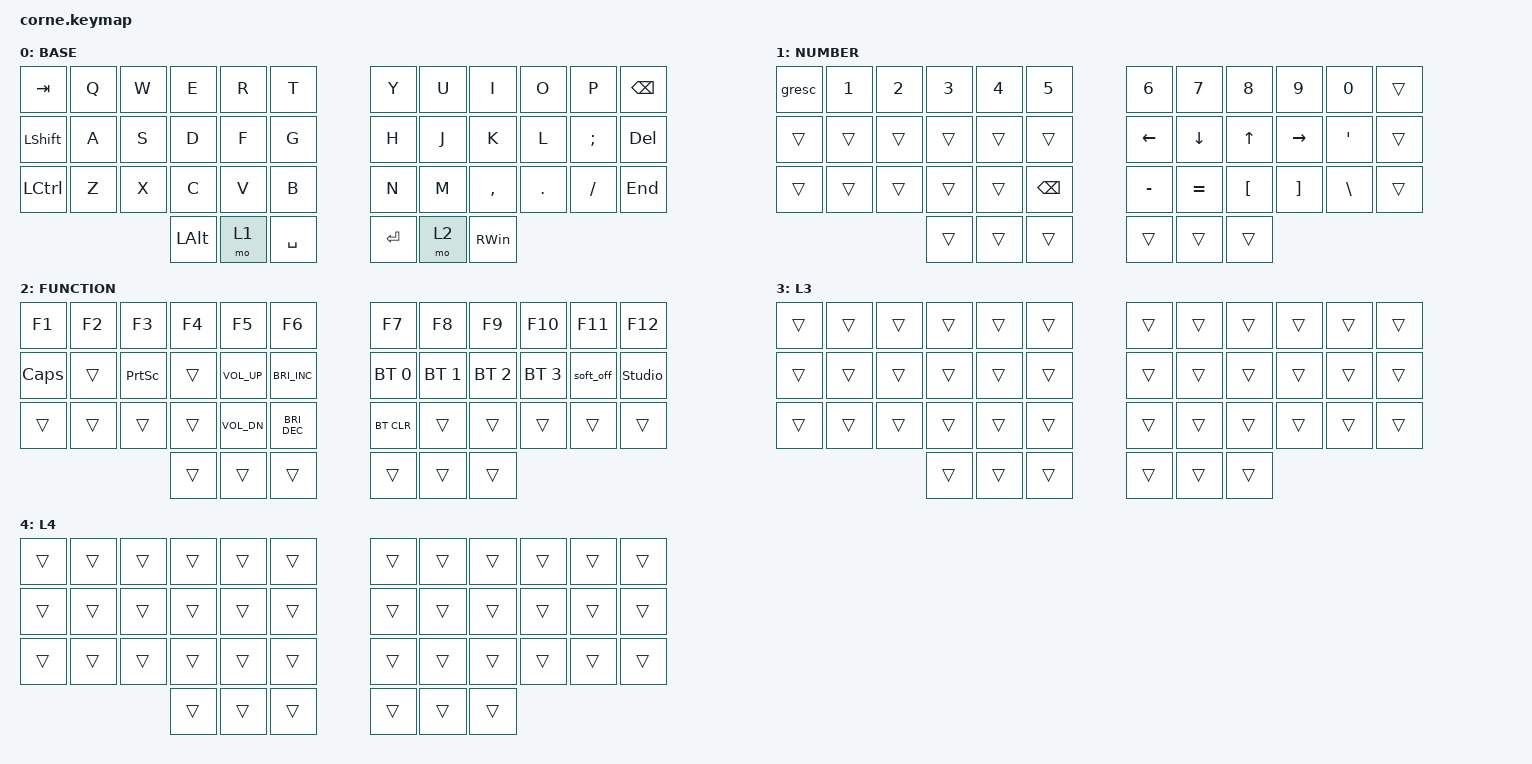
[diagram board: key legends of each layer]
/*
 * Copyright (c) 2020 The ZMK Contributors
 *
 * SPDX-License-Identifier: MIT
 */

#include <behaviors.dtsi>
#include <dt-bindings/zmk/bt.h>
#include <dt-bindings/zmk/keys.h>

/ {
    keymap {
        compatible = "zmk,keymap";

        BASE {
            bindings = <
&kp TAB    &kp Q  &kp W  &kp E         &kp R  &kp T        &kp Y    &kp U  &kp I          &kp O    &kp P     &kp BSPC
&kp LSHFT  &kp A  &kp S  &kp D         &kp F  &kp G        &kp H    &kp J  &kp K          &kp L    &kp SEMI  &kp DEL
&kp LCTRL  &kp Z  &kp X  &kp C         &kp V  &kp B        &kp N    &kp M  &kp COMMA      &kp DOT  &kp FSLH  &kp END
                         &kp LEFT_ALT  &mo 1  &kp SPACE    &kp RET  &mo 2  &kp RIGHT_WIN
            >;
        };

        NUMBER {
            bindings = <
&gresc  &kp NUMBER_1  &kp NUMBER_2  &kp NUMBER_3  &kp NUMBER_4  &kp NUMBER_5     &kp NUMBER_6  &kp NUMBER_7    &kp NUMBER_8      &kp NUMBER_9       &kp NUMBER_0   &trans
&trans  &trans        &trans        &trans        &trans        &trans           &kp LEFT      &kp DOWN_ARROW  &kp UP_ARROW      &kp RIGHT          &kp SQT        &trans
&trans  &trans        &trans        &trans        &trans        &kp BACKSPACE    &kp MINUS     &kp EQUAL       &kp LEFT_BRACKET  &kp RIGHT_BRACKET  &kp BACKSLASH  &trans
                                    &trans        &trans        &trans           &trans        &trans          &trans
            >;
        };

        FUNCTION {
            bindings = <
&kp F1        &kp F2  &kp F3           &kp F4  &kp F5           &kp F6                  &kp F7        &kp F8        &kp F9        &kp F10       &kp F11    &kp F12
&kp CAPSLOCK  &trans  &kp PRINTSCREEN  &trans  &kp C_VOLUME_UP  &kp C_BRIGHTNESS_INC    &bt BT_SEL 0  &bt BT_SEL 1  &bt BT_SEL 2  &bt BT_SEL 3  &soft_off  &studio_unlock
&trans        &trans  &trans           &trans  &kp C_VOL_DN     &kp C_BRIGHTNESS_DEC    &bt BT_CLR    &trans        &trans        &trans        &trans     &trans
                                       &trans  &trans           &trans                  &trans        &trans        &trans
            >;
        };

        L3 {
            bindings = <
&trans  &trans  &trans  &trans  &trans  &trans    &trans  &trans  &trans  &trans  &trans  &trans
&trans  &trans  &trans  &trans  &trans  &trans    &trans  &trans  &trans  &trans  &trans  &trans
&trans  &trans  &trans  &trans  &trans  &trans    &trans  &trans  &trans  &trans  &trans  &trans
                        &trans  &trans  &trans    &trans  &trans  &trans
            >;
        };

        L4 {
            bindings = <
&trans  &trans  &trans  &trans  &trans  &trans    &trans  &trans  &trans  &trans  &trans  &trans
&trans  &trans  &trans  &trans  &trans  &trans    &trans  &trans  &trans  &trans  &trans  &trans
&trans  &trans  &trans  &trans  &trans  &trans    &trans  &trans  &trans  &trans  &trans  &trans
                        &trans  &trans  &trans    &trans  &trans  &trans
            >;
        };
    };
};
